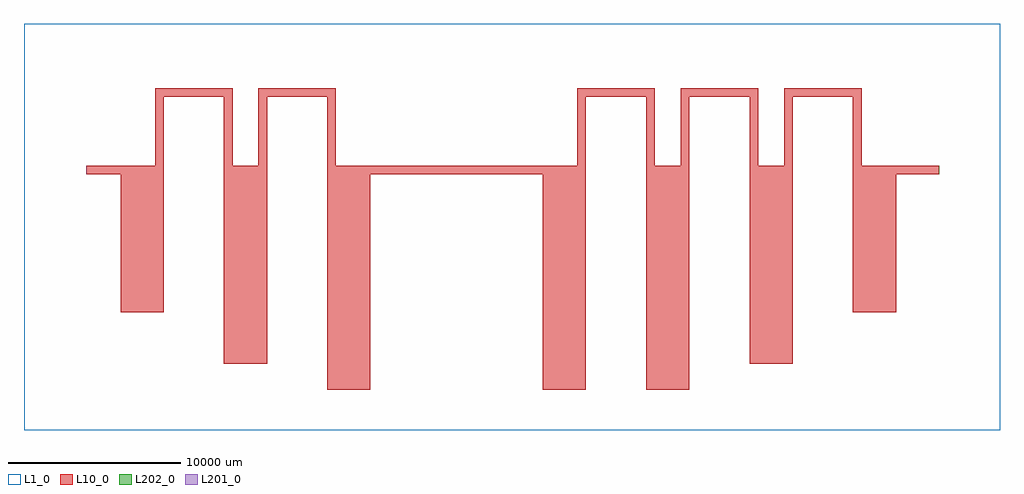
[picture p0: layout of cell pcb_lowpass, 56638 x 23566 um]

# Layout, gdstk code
import gdstk
lib = gdstk.Library(unit=1e-6, precision=1e-06)
def R(c, l, rs):  # rectangles x0, y0, x1, y1
    for r in rs: c.add(gdstk.rectangle(r[:2], r[2:], *l))
def A(c, l, x, y, w, h, nx, ny, dx, dy):  # array of equal rectangles
    R(c, l, [(x+i*dx, y+j*dy, x+i*dx+w, y+j*dy+h) for i in range(nx) for j in range(ny)])
def P(c, l, *ps):  # polygons
    for p in ps: c.add(gdstk.Polygon(p, *l))
L1_0 = (1, 0)
L10_0 = (10, 0)
L201_0 = (201, 0)
L202_0 = (202, 0)

pcb_lowpass = lib.new_cell('pcb_lowpass')
R(pcb_lowpass, L1_0, [(3895,4654,60533,28220)])
A(pcb_lowpass, L10_0, 36500, 24000, 3500, 500, 3, 1, 6000, 0)
R(pcb_lowpass, L10_0, [(21500,7000,24000,20000), (34000,7000,36500,20000), (40000,7000,42500,20000), (15500,8500,18000,20000), (46000,8500,48500,20000), (9500,11500,12000,20000), (52000,11500,54500,20000), (7500,19500,9500,20000), (24000,19500,34000,20000), (54500,19500,57000,20000), (11500,20000,12000,24000), (15500,20000,16000,24000), (17500,20000,18000,24000), (21500,20000,22000,24000), (36000,20000,36500,24000), (40000,20000,40500,24000), (42000,20000,42500,24000), (46000,20000,46500,24000), (48000,20000,48500,24000), (52000,20000,52500,24000), (11500,24000,12000,24500), (12000,24000,15500,24500), (15500,24000,16000,24500), (17500,24000,18000,24500), (18000,24000,21500,24500), (21500,24000,22000,24500), (36000,24000,36500,24500), (40000,24000,40500,24500), (42000,24000,42500,24500), (46000,24000,46500,24500), (48000,24000,48500,24500), (52000,24000,52500,24500)])
P(pcb_lowpass, L201_0, [(7500,19500),(7500,20000),(7500,20000),(7500,19500)])
R(pcb_lowpass, L202_0, [(56999,19501,57000,20000)])

lib.write_gds('pcb_lowpass.gds')
